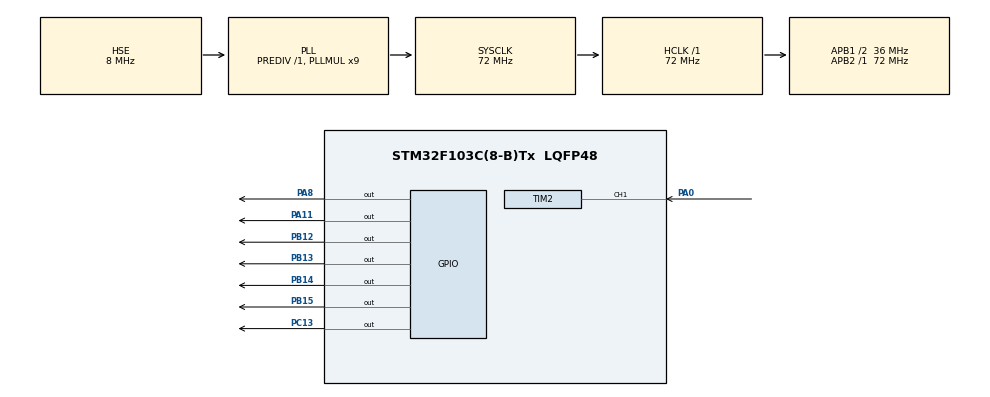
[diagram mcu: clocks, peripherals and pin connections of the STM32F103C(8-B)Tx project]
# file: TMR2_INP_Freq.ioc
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Mcu.Family=STM32F1
Mcu.Name=STM32F103C(8-B)Tx
Mcu.Package=LQFP48
NVIC.PriorityGroup=NVIC_PRIORITYGROUP_4
NVIC.TIM2_IRQn=true\:0\:0\:false\:false\:true\:true\:true\:true
PA0-WKUP.Signal=S_TIM2_CH1_ETR
PA11.Signal=GPIO_Output
PA13.Mode=Serial_Wire
PA13.Signal=SYS_JTMS-SWDIO
PA14.Mode=Serial_Wire
PA14.Signal=SYS_JTCK-SWCLK
PA8.Signal=GPIO_Output
PB12.Signal=GPIO_Output
PB13.Signal=GPIO_Output
PB14.Signal=GPIO_Output
PB15.Signal=GPIO_Output
PC13-TAMPER-RTC.Signal=GPIO_Output
PD0-OSC_IN.Mode=HSE-External-Oscillator
PD0-OSC_IN.Signal=RCC_OSC_IN
PD1-OSC_OUT.Mode=HSE-External-Oscillator
PD1-OSC_OUT.Signal=RCC_OSC_OUT
ProjectManager.HeapSize=0x200
ProjectManager.StackSize=0x400
ProjectManager.TargetToolchain=STM32CubeIDE
RCC.AHBFreq_Value=72000000
RCC.APB1CLKDivider=RCC_HCLK_DIV2
RCC.APB1Freq_Value=36000000
RCC.APB1TimFreq_Value=72000000
RCC.APB2Freq_Value=72000000
RCC.APB2TimFreq_Value=72000000
RCC.HCLKFreq_Value=72000000
RCC.PLLMUL=RCC_PLL_MUL9
RCC.PLLSourceVirtual=RCC_PLLSOURCE_HSE
RCC.SYSCLKFreq_VALUE=72000000
RCC.SYSCLKSource=RCC_SYSCLKSOURCE_PLLCLK
RCC.USBFreq_Value=72000000
SH.S_TIM2_CH1_ETR.0=TIM2_CH1,Input_Capture1_from_TI1
TIM2.AutoReloadPreload=TIM_AUTORELOAD_PRELOAD_ENABLE
TIM2.Channel-Input_Capture1_from_TI1=TIM_CHANNEL_1
TIM2.Period=65535
VP_TIM2_VS_ClockSourceINT.Mode=Internal
board=custom

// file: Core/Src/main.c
/* USER CODE BEGIN Header */
/**
  ******************************************************************************
  * @file           : main.c
  * @brief          : Main program body
  ******************************************************************************
  * @attention
  *
  * Copyright (c) 2024 STMicroelectronics.
  * All rights reserved.
  *
  * This software is licensed under terms that can be found in the LICENSE file
  * in the root directory of this software component.
  * If no LICENSE file comes with this software, it is provided AS-IS.
  *
  ******************************************************************************
  */
/* USER CODE END Header */
#include "main.h"

/* USER CODE BEGIN Includes */

#include <stdio.h>
#include "LCD1602_4Bits.h"

/* USER CODE END Includes */

/* USER CODE BEGIN PD */

#define IDLE 0
#define DONE 1
#define F_CLK 72000000UL

/* USER CODE END PD */

TIM_HandleTypeDef htim2;

/* USER CODE BEGIN PV */

volatile uint8_t state = IDLE;
volatile uint32_t T1;
volatile uint32_t T2;
volatile uint32_t ticks = 0;
volatile uint16_t TIM2_OVC = 0;
volatile uint32_t freq = 0;

char bufferLCD[16];

/* USER CODE END PV */

void SystemClock_Config(void);
static void MX_GPIO_Init(void);
static void MX_TIM2_Init(void);

/* USER CODE BEGIN 0 */

void HAL_TIM_IC_CaptureCallback(TIM_HandleTypeDef* htim)
{
    if(state == IDLE)
    {
        T1 = TIM2->CCR1;
        TIM2_OVC = 0;
        state = DONE;
    }
    else if(state == DONE)
    {
        T2 = TIM2->CCR1;
        ticks = (T2 + (TIM2_OVC * 65536)) - T1;
        freq = (uint32_t)(F_CLK/ticks);

        state = IDLE;
    }
}

void HAL_TIM_PeriodElapsedCallback(TIM_HandleTypeDef* htim)
{
    TIM2_OVC++;
}

/* USER CODE END 0 */

int main(void)
{

  /* MCU Configuration--------------------------------------------------------*/

  /* Reset of all peripherals, Initializes the Flash interface and the Systick. */
  HAL_Init();

  /* Configure the system clock */
  SystemClock_Config();

  /* Initialize all configured peripherals */
  MX_GPIO_Init();
  MX_TIM2_Init();
  /* USER CODE BEGIN 2 */

  HAL_TIM_Base_Start_IT(&htim2);
  HAL_TIM_IC_Start_IT(&htim2, TIM_CHANNEL_1);

  lcd_init();
  lcd_put_cur(0, 0);
  lcd_send_string("FREQ.: ");

  /* USER CODE END 2 */

  /* Infinite loop */
  /* USER CODE BEGIN WHILE */
  while (1)
  {
	  HAL_GPIO_TogglePin(GPIOC, GPIO_PIN_13);

	  sprintf(bufferLCD, "%06ld Hz", freq);

	  lcd_put_cur(0, 7);
	  lcd_send_string(bufferLCD);

	  HAL_Delay(1000);
    /* USER CODE END WHILE */

  }
}

void SystemClock_Config(void)
{
  RCC_OscInitTypeDef RCC_OscInitStruct = {0};
  RCC_ClkInitTypeDef RCC_ClkInitStruct = {0};

  /** Initializes the RCC Oscillators according to the specified parameters
  * in the RCC_OscInitTypeDef structure.
  */
  RCC_OscInitStruct.OscillatorType = RCC_OSCILLATORTYPE_HSE;
  RCC_OscInitStruct.HSEState = RCC_HSE_ON;
  RCC_OscInitStruct.HSEPredivValue = RCC_HSE_PREDIV_DIV1;
  RCC_OscInitStruct.HSIState = RCC_HSI_ON;
  RCC_OscInitStruct.PLL.PLLState = RCC_PLL_ON;
  RCC_OscInitStruct.PLL.PLLSource = RCC_PLLSOURCE_HSE;
  RCC_OscInitStruct.PLL.PLLMUL = RCC_PLL_MUL9;
  if (HAL_RCC_OscConfig(&RCC_OscInitStruct) != HAL_OK)
  {
    Error_Handler();
  }

  /** Initializes the CPU, AHB and APB buses clocks
  */
  RCC_ClkInitStruct.ClockType = RCC_CLOCKTYPE_HCLK|RCC_CLOCKTYPE_SYSCLK
                              |RCC_CLOCKTYPE_PCLK1|RCC_CLOCKTYPE_PCLK2;
  RCC_ClkInitStruct.SYSCLKSource = RCC_SYSCLKSOURCE_PLLCLK;
  RCC_ClkInitStruct.AHBCLKDivider = RCC_SYSCLK_DIV1;
  RCC_ClkInitStruct.APB1CLKDivider = RCC_HCLK_DIV2;
  RCC_ClkInitStruct.APB2CLKDivider = RCC_HCLK_DIV1;

  if (HAL_RCC_ClockConfig(&RCC_ClkInitStruct, FLASH_LATENCY_2) != HAL_OK)
  {
    Error_Handler();
  }
}

static void MX_TIM2_Init(void)
{

  TIM_ClockConfigTypeDef sClockSourceConfig = {0};
  TIM_MasterConfigTypeDef sMasterConfig = {0};
  TIM_IC_InitTypeDef sConfigIC = {0};

  htim2.Instance = TIM2;
  htim2.Init.Prescaler = 0;
  htim2.Init.CounterMode = TIM_COUNTERMODE_UP;
  htim2.Init.Period = 65535;
  htim2.Init.ClockDivision = TIM_CLOCKDIVISION_DIV1;
  htim2.Init.AutoReloadPreload = TIM_AUTORELOAD_PRELOAD_ENABLE;
  if (HAL_TIM_Base_Init(&htim2) != HAL_OK)
  {
    Error_Handler();
  }
  sClockSourceConfig.ClockSource = TIM_CLOCKSOURCE_INTERNAL;
  if (HAL_TIM_ConfigClockSource(&htim2, &sClockSourceConfig) != HAL_OK)
  {
    Error_Handler();
  }
  if (HAL_TIM_IC_Init(&htim2) != HAL_OK)
  {
    Error_Handler();
  }
  sMasterConfig.MasterOutputTrigger = TIM_TRGO_RESET;
  sMasterConfig.MasterSlaveMode = TIM_MASTERSLAVEMODE_DISABLE;
  if (HAL_TIMEx_MasterConfigSynchronization(&htim2, &sMasterConfig) != HAL_OK)
  {
    Error_Handler();
  }
  sConfigIC.ICPolarity = TIM_INPUTCHANNELPOLARITY_RISING;
  sConfigIC.ICSelection = TIM_ICSELECTION_DIRECTTI;
  sConfigIC.ICPrescaler = TIM_ICPSC_DIV1;
  sConfigIC.ICFilter = 0;
  if (HAL_TIM_IC_ConfigChannel(&htim2, &sConfigIC, TIM_CHANNEL_1) != HAL_OK)
  {
    Error_Handler();
  }

}

static void MX_GPIO_Init(void)
{
  GPIO_InitTypeDef GPIO_InitStruct = {0};

  /* GPIO Ports Clock Enable */
  __HAL_RCC_GPIOC_CLK_ENABLE();
  __HAL_RCC_GPIOD_CLK_ENABLE();
  __HAL_RCC_GPIOA_CLK_ENABLE();
  __HAL_RCC_GPIOB_CLK_ENABLE();

  /*Configure GPIO pin Output Level */
  HAL_GPIO_WritePin(GPIOC, GPIO_PIN_13, GPIO_PIN_RESET);

  /*Configure GPIO pin Output Level */
  HAL_GPIO_WritePin(GPIOB, GPIO_PIN_12|GPIO_PIN_13|GPIO_PIN_14|GPIO_PIN_15, GPIO_PIN_RESET);

  /*Configure GPIO pin Output Level */
  HAL_GPIO_WritePin(GPIOA, GPIO_PIN_8|GPIO_PIN_11, GPIO_PIN_RESET);

  /*Configure GPIO pin : PC13 */
  GPIO_InitStruct.Pin = GPIO_PIN_13;
  GPIO_InitStruct.Mode = GPIO_MODE_OUTPUT_PP;
  GPIO_InitStruct.Pull = GPIO_NOPULL;
  GPIO_InitStruct.Speed = GPIO_SPEED_FREQ_LOW;
  HAL_GPIO_Init(GPIOC, &GPIO_InitStruct);

  /*Configure GPIO pins : PB12 PB13 PB14 PB15 */
  GPIO_InitStruct.Pin = GPIO_PIN_12|GPIO_PIN_13|GPIO_PIN_14|GPIO_PIN_15;
  GPIO_InitStruct.Mode = GPIO_MODE_OUTPUT_PP;
  GPIO_InitStruct.Pull = GPIO_NOPULL;
  GPIO_InitStruct.Speed = GPIO_SPEED_FREQ_LOW;
  HAL_GPIO_Init(GPIOB, &GPIO_InitStruct);

  /*Configure GPIO pins : PA8 PA11 */
  GPIO_InitStruct.Pin = GPIO_PIN_8|GPIO_PIN_11;
  GPIO_InitStruct.Mode = GPIO_MODE_OUTPUT_PP;
  GPIO_InitStruct.Pull = GPIO_NOPULL;
  GPIO_InitStruct.Speed = GPIO_SPEED_FREQ_LOW;
  HAL_GPIO_Init(GPIOA, &GPIO_InitStruct);

}

void Error_Handler(void)
{
  __disable_irq();
  while (1)
  {
  }
}
